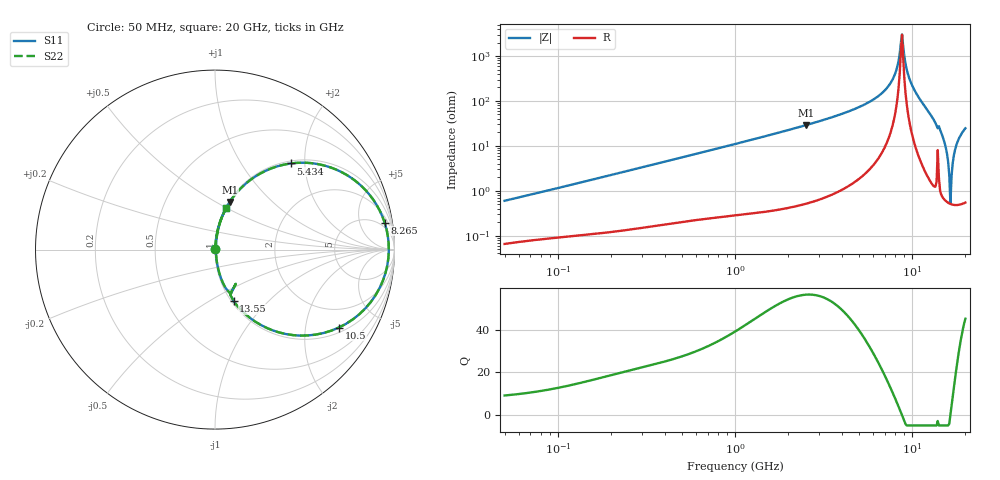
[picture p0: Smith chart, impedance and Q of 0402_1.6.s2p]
!Murata Part Number: LQG15HS1N6B02
!These Parameters are Measured in Series Mode Connection
!  o--[Z]--o
!Port1  Port2
!  o-------o
!Freq. Start=50[MHz] Stop=20[GHz], 401[Steps]
# Hz S RI R 50
!Freq.(Hz) S11(Real) S11(Imag) S21(Real) S21(Imag) S12(Real) S12(Imag) S22(Real) S22(Imag)
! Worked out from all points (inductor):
!   401 points, 50 MHz to 20 GHz, reference 50 ohm
!   read as one part in series: L = 1.86 nH near 51.52 MHz
!   highest Q = 56.6 at 2.531 GHz (marker M1), where L = 1.83 nH
!   self-resonance near 8.645 GHz
!   S11 on the Smith chart (normalised r, x): 50 MHz: 1.00, +0.01; 5.434 GHz: 1.05, +1.70; 8.265 GHz: 3, +12; 10.5 GHz: 1.18, -3.05; 13.55 GHz: 1.02, -0.65; 20 GHz: 1.01, +0.49
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5e7  0.000685 0.00591  0.9993 -0.00591  0.9993 -0.00591  0.000685 0.00591
1.364002e8  0.00125 0.0154  0.9987 -0.0154  0.9987 -0.0154  0.00125 0.0154
3.721004e8  0.00337 0.041  0.9966 -0.041  0.9966 -0.041  0.00337 0.041
1e9  0.0146 0.1077  0.9854 -0.1077  0.9854 -0.1077  0.0146 0.1077
2.531158e9  0.0821 0.2658  0.9179 -0.2658  0.9179 -0.2658  0.0821 0.2658
2.728004e9  0.0955 0.2852  0.9045 -0.2852  0.9045 -0.2852  0.0955 0.2852
5.433528e9  0.4207 0.4798  0.5793 -0.4798  0.5793 -0.4798  0.4207 0.4798
7.442007e9  0.8226 0.3477  0.1774 -0.3477  0.1774 -0.3477  0.8226 0.3477
8.264682e9  0.945 0.151  0.055 -0.151  0.055 -0.151  0.945 0.151
8.774992e9  0.9685 -0.0049  0.0315 0.0049  0.0315 0.0049  0.9685 -0.0049
9.600142e9  0.8941 -0.2549  0.1059 0.2549  0.1059 0.2549  0.8941 -0.2549
1.050288e10  0.69 -0.4344  0.31 0.4344  0.31 0.4344  0.69 -0.4344
1.183995e10  0.3588 -0.462  0.6412 0.462  0.6412 0.462  0.3588 -0.462
1.354865e10  0.1036 -0.2862  0.8964 0.2862  0.8964 0.2862  0.1036 -0.2862
1.504638e10  0.0257 -0.1362  0.9743 0.1362  0.9743 0.1362  0.0257 -0.1362
1.573793e10  0.00997 -0.0659  0.99 0.0659  0.99 0.0659  0.00997 -0.0659
1.597544e10  0.00727 -0.0435  0.9927 0.0435  0.9927 0.0435  0.00727 -0.0435
1.646126e10  0.00504 -0.000339  0.995 0.000339  0.995 0.000339  0.00504 -0.000339
1.696185e10  0.00652 0.0408  0.9935 -0.0408  0.9935 -0.0408  0.00652 0.0408
1.747767e10  0.0112 0.0798  0.9888 -0.0798  0.9888 -0.0798  0.0112 0.0798
1.800918e10  0.0186 0.1166  0.9814 -0.1166  0.9814 -0.1166  0.0186 0.1166
2e10  0.0615 0.2294  0.9385 -0.2294  0.9385 -0.2294  0.0615 0.2294
